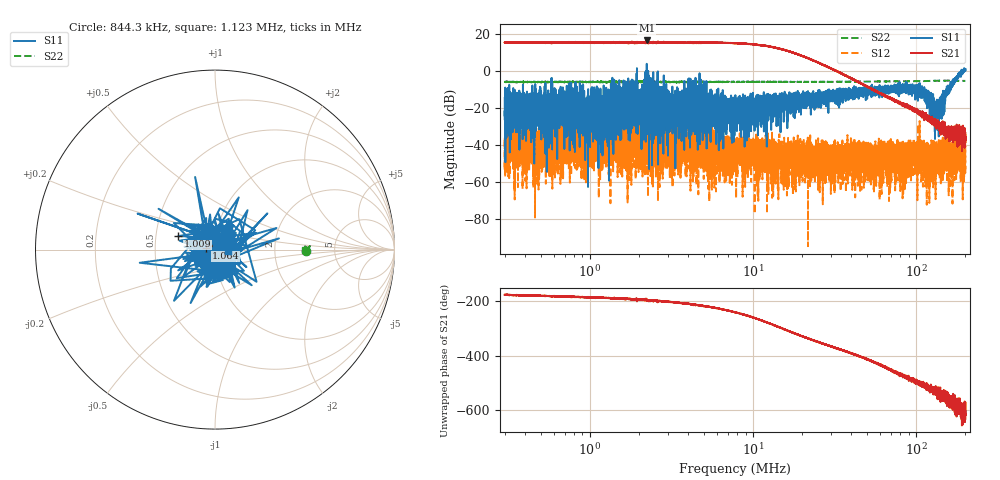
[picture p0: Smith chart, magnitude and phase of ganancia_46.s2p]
# Hz S DB R 50
! CMT, M5065, 19127446, 24.2.4/2
! Date: 11/1/2024 4:42:39 PM
! Data: Format (Calibration Info)
! Freq	S11:dB/Ang(F2)	S21:dB/Ang(F2)	S12:dB/Ang(F2)	S22:dB/Ang(F2)
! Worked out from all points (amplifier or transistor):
!   9000 points, 300 kHz to 200 MHz, reference 50 ohm
!   highest |S21| = 16.5 dB at 2.23 MHz (marker M1)
!   |S21| within 3 dB of that: start of sweep to 11.93 MHz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
!   unconditionally stable (mu >= 1): start of sweep to 1.735 MHz; 2.53 MHz to 4.299 MHz; 4.504 MHz to 189.2 MHz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
!   at 886.8 kHz: K = 4.08, MAG = 16.6 dB, |S12| = -36.1 dB
!   at 7.749 MHz: K = 7.89, MAG = 16.4 dB, |S12| = -41.6 dB
!   at 200 MHz: K = -1586.38, MSG = 8.8 dB, |S12| = -50.9 dB
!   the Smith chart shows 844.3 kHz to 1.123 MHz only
!   S11 on the Smith chart (normalised r, x): 844.3 kHz: 1.06, -0.29; 1.009 MHz: 0.66, +0.10; 1.064 MHz: 0.91, +0.02; 1.123 MHz: 1.15, -0.02
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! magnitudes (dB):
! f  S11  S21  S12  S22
! 300 kHz  -23.9  15.4  -37.0  -5.8
! 354 kHz  -24.7  15.4  -40.1  -5.9
! 844.3 kHz  -16.8  15.3  -45.8  -5.9
! 886.8 kHz  -22.3  15.3  -36.1  -5.8
! 1.009 MHz  -13.3  15.5  -43.3  -5.9
! 1.064 MHz  -26.0  15.4  -43.2  -5.9
! 1.123 MHz  -22.9  15.3  -36.0  -6.0
! 1.237 MHz  -18.4  15.3  -42.2  -5.9
! 1.293 MHz  -16.9  15.3  -43.4  -5.8
! 1.363 MHz  -20.9  15.3  -44.1  -5.8
! 2.23 MHz  3.9  16.5  -36.3  -5.9
! 2.621 MHz  -22.3  15.4  -30.5  -5.7
! 4.796 MHz  -32.5  15.3  -41.8  -5.9
! 7.749 MHz  -22.0  15.0  -41.6  -5.9
! 13.4 MHz  -15.6  12.8  -41.4  -5.8
! 22.91 MHz  -13.3  6.2  -57.3  -5.8
! 67.71 MHz  -9.0  -14.2  -43.9  -5.6
! 104.8 MHz  -10.4  -22.2  -39.7  -5.5
! 132.9 MHz  -16.4  -26.6  -50.4  -5.2
! 156.4 MHz  -7.8  -32.6  -48.4  -5.2
! 180.8 MHz  -2.6  -34.4  -42.2  -5.3
! 200 MHz  1.1  -33.4  -50.9  -5.3
